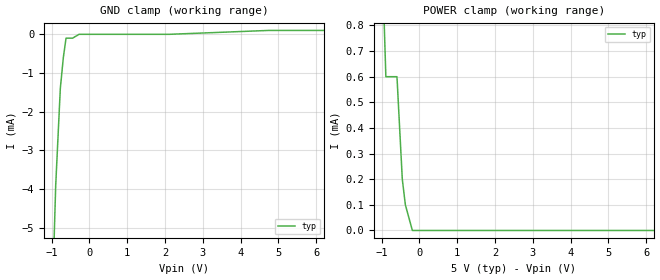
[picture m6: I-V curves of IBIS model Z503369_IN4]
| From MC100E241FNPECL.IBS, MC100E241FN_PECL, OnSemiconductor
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| (C) COPYRIGHT 1993-2000
| MENTOR GRAPHICS CORPORATION
| ICX STANDARD LIBRARY, ICX PROJECT MODELING,
| ICX CUSTOM MODELING, ICX VENDOR MODEL
| ALL RIGHTS RESERVED.
| THE FOLLOWING ARE TRADEMARKS OR SERVICE MARKS OF
| MENTOR GRAPHICS CORPORATION:ICX (R), ICX STANDARD
| LIBRARY(R), ICX PROJECT MODELING(R), ICX CUSTOM
| MODELING(R), qualityIBIS(TM), MODELVIEWER(TM),
| AND MODELEDITOR(TM)
| ALL COPIES OF SOFTWARE, INCLUDING BUT NOT LIMITED TO
| ANY MODIFICATIONS, ENHANCEMENTS OR DERIVATIVE WORKS,
| MUST CONTAIN ALL MENTOR GRAPHICS CORPORATION'S
| NOTICES AND LEGENDS, INCLUDING THOSE EMBEDDED IN
| SOFTWARE AND THOSE AFFIXED TO SOFTWARE MEDIUM
| AND CONTAINER, AS RECEIVED FROM MENTOR GRAPHICS
| CORPORATION.
| Model Application Version 1.89 2/18/99.
[Model] Z503369_IN4
Model_type Input_ECL
Vinl = 3.525V
Vinh = 3.835V
C_comp 4.000pF NA NA
| variable typ   min   max
[Voltage Range] 5.000V NA NA
[GND Clamp Reference] 0.000V NA NA
[POWER Clamp Reference] 5.000V NA NA
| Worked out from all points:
|   GND clamp passes 1 mA (typ) near -0.73 V on its own axis
[GND Clamp]
-5V       -213.5mA   NA         NA
-1.033V   -8.6mA     NA         NA
-891mV    -3.9mA     NA         NA
-769mV    -1.4mA     NA         NA
-689mV    -600uA     NA         NA
-617.8mV  -100uA     NA         NA
-445.5mV  -100uA     NA         NA
-273.2mV  0A         NA         NA
2.119V    0A         NA         NA
4.743V    100uA      NA         NA
10V       100uA      NA         NA
[POWER Clamp]
-5V       20.04mA    NA         NA
-1.181V   2mA        NA         NA
-887mV    600uA      NA         NA
-593mV    600uA      NA         NA
-452mV    200uA      NA         NA
-371mV    100uA      NA         NA
-185.5mV  0A         NA         NA
10V       0A         NA         NA
